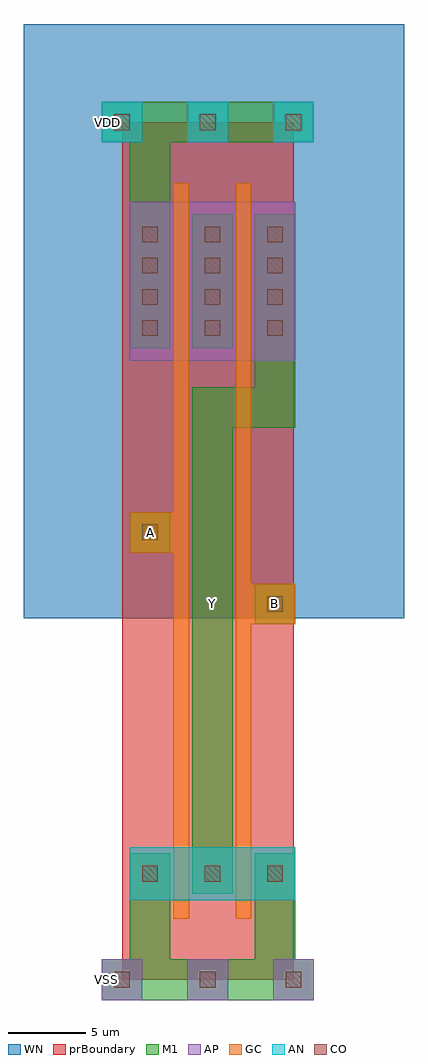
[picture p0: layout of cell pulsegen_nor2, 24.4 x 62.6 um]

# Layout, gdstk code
import gdstk
lib = gdstk.Library(unit=1e-6, precision=1e-07)
def R(c, l, rs):  # rectangles x0, y0, x1, y1
    for r in rs: c.add(gdstk.rectangle(r[:2], r[2:], *l))
def A(c, l, x, y, w, h, nx, ny, dx, dy):  # array of equal rectangles
    R(c, l, [(x+i*dx, y+j*dy, x+i*dx+w, y+j*dy+h) for i in range(nx) for j in range(ny)])
def P(c, l, *ps):  # polygons
    for p in ps: c.add(gdstk.Polygon(p, *l))
AP = (3, 1)
AN = (3, 2)
GC = (8, 1)
CO = (11, 0)
M1 = (13, 0)
WN = (140, 0)
prBoundary = (235, 0)

fet_p_1 = lib.new_cell('fet_p$1')
R(fet_p_1, AP, [(-5.3,-5.1,5.3,5.1)])
A(fet_p_1, CO, -4.5, -3.5, 1, 1, 3, 4, 4, 2)
A(fet_p_1, M1, -5.3, -4.3, 2.6, 8.6, 3, 1, 4, 0)
fet_p_1.add(gdstk.FlexPath([(2,-6.3),(2,6.3)], 1, ends="flush", simple_path=True, layer=8, datatype=1))  # GC
fet_p_1.add(gdstk.FlexPath([(-2,-6.3),(-2,6.3)], 1, ends="flush", simple_path=True, layer=8, datatype=1))  # GC

fet_n_1 = lib.new_cell('fet_n$1')
R(fet_n_1, AN, [(-5.3,-1.7,5.3,1.7)])
A(fet_n_1, CO, -4.5, -0.5, 1, 1, 3, 1, 4, 0)
A(fet_n_1, M1, -5.3, -1.3, 2.6, 2.6, 3, 1, 4, 0)
fet_n_1.add(gdstk.FlexPath([(2,-2.9),(2,2.9)], 1, ends="flush", simple_path=True, layer=8, datatype=1))  # GC
fet_n_1.add(gdstk.FlexPath([(-2,-2.9),(-2,2.9)], 1, ends="flush", simple_path=True, layer=8, datatype=1))  # GC

cont_g = lib.new_cell('cont_g')
R(cont_g, GC, [(-1.3,-1.3,1.3,1.3)])
R(cont_g, CO, [(-0.5,-0.5,0.5,0.5)])
R(cont_g, M1, [(-1.3,-1.3,1.3,1.3)])

cont_n = lib.new_cell('cont_n')
R(cont_n, AN, [(-1.3,-1.3,1.3,1.3)])
R(cont_n, CO, [(-0.5,-0.5,0.5,0.5)])
R(cont_n, M1, [(-1.3,-1.3,1.3,1.3)])

cont_p = lib.new_cell('cont_p')
R(cont_p, AP, [(-1.3,-1.3,1.3,1.3)])
R(cont_p, CO, [(-0.5,-0.5,0.5,0.5)])
R(cont_p, M1, [(-1.3,-1.3,1.3,1.3)])

pulsegen_nor2 = lib.new_cell('pulsegen_nor2')
P(pulsegen_nor2, GC, [(3.3,9.7),(3.3,27.4),(3.1,27.4),(3.1,30),(3.3,30),(3.3,38.5),(4.3,38.5),(4.3,9.7)],
  [(7.3,9.7),(7.3,38.5),(8.3,38.5),(8.3,25.4),(8.5,25.4),(8.5,22.8),(8.3,22.8),(8.3,9.7)])
R(pulsegen_nor2, M1, [(-1.3,-1.3,12.3,1.3), (0.5,1.3,3.1,5.5), (8.5,1.3,11.1,5.5), (0.5,49.1,3.1,53.7), (-1.3,53.7,12.3,56.3)])
P(pulsegen_nor2, M1, [(4.5,8.1),(4.5,38),(8.5,38),(8.5,40.5),(11.1,40.5),(11.1,35.4),(7.1,35.4),(7.1,8.1)])
R(pulsegen_nor2, WN, [(-6.3,23.2,18.1,61.3)])
R(pulsegen_nor2, prBoundary, [(0,0,11,55)])
pulsegen_nor2.add(gdstk.Reference(fet_p_1, (5.8,44.8), x_reflection=True))
pulsegen_nor2.add(gdstk.Reference(fet_n_1, (5.8,6.8), x_reflection=True))
pulsegen_nor2.add(gdstk.Reference(cont_g, (1.8,28.7)))
r = gdstk.Reference(cont_n, (0,55), x_reflection=True); r.repetition = gdstk.Repetition(3, 1, v1=(5.5,0), v2=(0,0)); pulsegen_nor2.add(r)
pulsegen_nor2.add(gdstk.Reference(cont_g, (9.8,24.1)))
r = gdstk.Reference(cont_p, (0,0), x_reflection=True); r.repetition = gdstk.Repetition(3, 1, v1=(5.5,0), v2=(0,0)); pulsegen_nor2.add(r)
pulsegen_nor2.add(gdstk.Label('A', (1.8,28.7), layer=48, texttype=0))
pulsegen_nor2.add(gdstk.Label('B', (9.8,24.1), layer=48, texttype=0))
pulsegen_nor2.add(gdstk.Label('Y', (5.8,24.1), layer=48, texttype=0))
pulsegen_nor2.add(gdstk.Label('VDD', (-0.9,55), layer=48, texttype=0))
pulsegen_nor2.add(gdstk.Label('VSS', (-1,0), layer=48, texttype=0))

lib.write_gds('pulsegen_nor2.gds')
